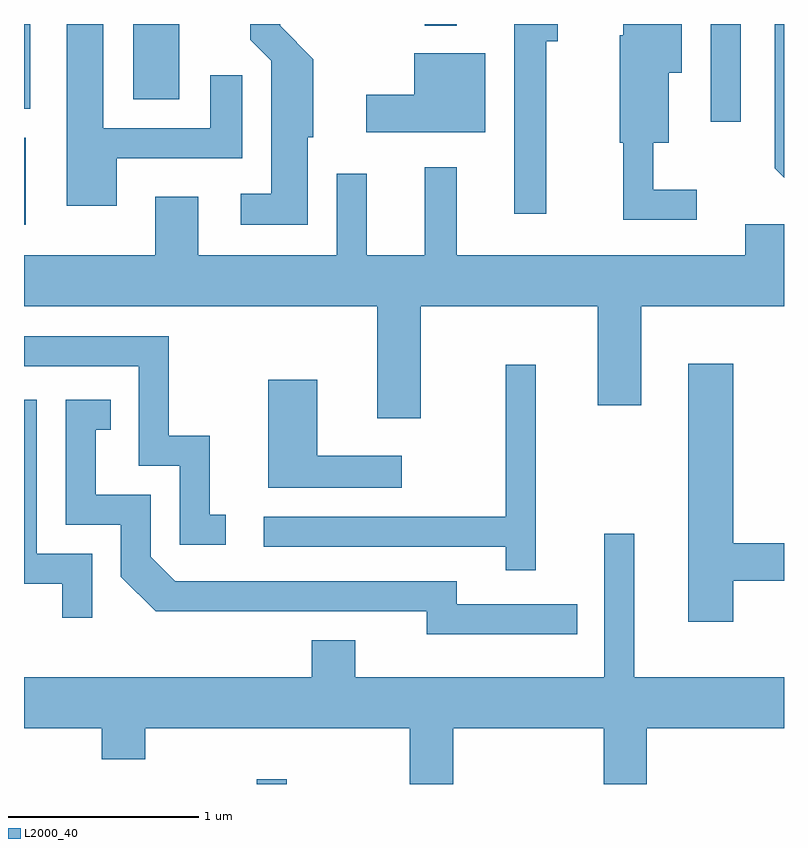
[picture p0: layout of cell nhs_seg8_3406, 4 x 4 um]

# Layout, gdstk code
import gdstk
lib = gdstk.Library(unit=1e-6, precision=1e-09)
def R(c, l, rs):  # rectangles x0, y0, x1, y1
    for r in rs: c.add(gdstk.rectangle(r[:2], r[2:], *l))
def P(c, l, *ps):  # polygons
    for p in ps: c.add(gdstk.Polygon(p, *l))
L2000_40 = (2000, 40)

nhs_seg8_3406 = lib.new_cell('nhs_seg8_3406')
R(nhs_seg8_3406, L2000_40, [(288.836,1838.342,288.994,1838.368), (287.611,1841.286,287.619,1841.744), (291.226,1841.828,291.384,1842.342), (287.611,1841.896,287.644,1842.342), (288.186,1841.946,288.429,1842.342), (289.721,1842.333,289.889,1842.342)])
P(nhs_seg8_3406, L2000_40, [(288.099,1841.636),(288.759,1841.636),(288.759,1842.073),(288.591,1842.073),(288.591,1841.794),(288.029,1841.794),(288.029,1842.342),(287.836,1842.342),(287.836,1841.386),(288.099,1841.386)],
  [(291.153,1841.469),(290.924,1841.469),(290.924,1841.716),(291.004,1841.716),(291.004,1842.086),(291.074,1842.086),(291.074,1842.342),(290.766,1842.342),(290.766,1842.284),(290.746,1842.284),(290.746,1841.716),(290.766,1841.716),(290.766,1841.311),(291.153,1841.311)],
  [(289.104,1841.746),(289.134,1841.746),(289.134,1842.157),(288.959,1842.332),(288.959,1842.342),(288.801,1842.342),(288.801,1842.259),(288.911,1842.149),(288.911,1841.449),(288.753,1841.449),(288.753,1841.286),(289.104,1841.286)],
  [(291.611,1842.342),(291.561,1842.342),(291.561,1841.584),(291.611,1841.534)],
  [(290.359,1842.251),(290.419,1842.251),(290.419,1842.342),(290.191,1842.342),(290.191,1841.343),(290.359,1841.343)],
  [(290.039,1842.189),(289.666,1842.189),(289.666,1841.969),(289.411,1841.969),(289.411,1841.771),(290.039,1841.771)],
  [(289.889,1841.588),(289.721,1841.588),(289.721,1841.124),(289.414,1841.124),(289.414,1841.553),(289.256,1841.553),(289.256,1841.124),(288.529,1841.124),(288.529,1841.434),(288.301,1841.434),(288.301,1841.124),(287.611,1841.124),(287.611,1840.856),(289.471,1840.856),(289.471,1840.266),(289.699,1840.266),(289.699,1840.856),(290.631,1840.856),(290.631,1840.336),(290.859,1840.336),(290.859,1840.856),(291.611,1840.856),(291.611,1841.289),(291.406,1841.289),(291.406,1841.124),(289.889,1841.124)],
  [(288.673,1839.759),(288.589,1839.759),(288.589,1840.174),(288.374,1840.174),(288.374,1840.699),(287.611,1840.699),(287.611,1840.541),(288.216,1840.541),(288.216,1840.016),(288.431,1840.016),(288.431,1839.601),(288.673,1839.601)],
  [(291.344,1839.411),(291.611,1839.411),(291.611,1839.609),(291.344,1839.609),(291.344,1840.554),(291.106,1840.554),(291.106,1839.196),(291.344,1839.196)],
  [(290.304,1840.548),(290.146,1840.548),(290.146,1839.749),(288.873,1839.749),(288.873,1839.591),(290.146,1839.591),(290.146,1839.468),(290.304,1839.468)],
  [(289.598,1840.069),(289.154,1840.069),(289.154,1840.469),(288.896,1840.469),(288.896,1839.901),(289.598,1839.901)],
  [(287.969,1839.554),(287.679,1839.554),(287.679,1840.364),(287.611,1840.364),(287.611,1839.396),(287.811,1839.396),(287.811,1839.218),(287.969,1839.218)],
  [(290.523,1839.289),(289.889,1839.289),(289.889,1839.409),(288.407,1839.409),(288.279,1839.537),(288.279,1839.864),(287.989,1839.864),(287.989,1840.206),(288.068,1840.206),(288.068,1840.364),(287.831,1840.364),(287.831,1839.706),(288.121,1839.706),(288.121,1839.434),(288.304,1839.251),(289.731,1839.251),(289.731,1839.131),(290.523,1839.131)],
  [(289.869,1838.636),(290.661,1838.636),(290.661,1838.342),(290.889,1838.342),(290.889,1838.636),(291.611,1838.636),(291.611,1838.904),(290.824,1838.904),(290.824,1839.658),(290.666,1839.658),(290.666,1838.904),(289.354,1838.904),(289.354,1839.099),(289.126,1839.099),(289.126,1838.904),(287.611,1838.904),(287.611,1838.636),(288.021,1838.636),(288.021,1838.471),(288.249,1838.471),(288.249,1838.636),(289.641,1838.636),(289.641,1838.342),(289.869,1838.342)])

lib.write_gds('nhs_seg8_3406.gds')
